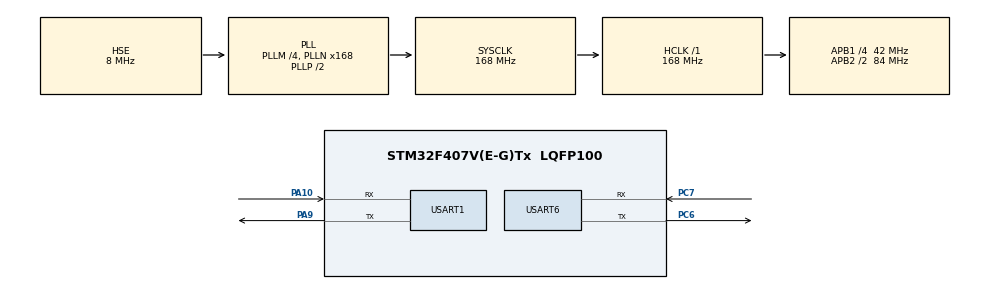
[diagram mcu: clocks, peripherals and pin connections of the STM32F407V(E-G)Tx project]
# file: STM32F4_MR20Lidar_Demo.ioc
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Dma.Request0=USART6_RX
Dma.USART6_RX.0.Direction=DMA_PERIPH_TO_MEMORY
Dma.USART6_RX.0.FIFOMode=DMA_FIFOMODE_DISABLE
Dma.USART6_RX.0.Instance=DMA2_Stream1
Dma.USART6_RX.0.MemDataAlignment=DMA_MDATAALIGN_BYTE
Dma.USART6_RX.0.MemInc=DMA_MINC_ENABLE
Dma.USART6_RX.0.Mode=DMA_NORMAL
Dma.USART6_RX.0.PeriphDataAlignment=DMA_PDATAALIGN_BYTE
Dma.USART6_RX.0.PeriphInc=DMA_PINC_DISABLE
Dma.USART6_RX.0.Priority=DMA_PRIORITY_LOW
Mcu.Family=STM32F4
Mcu.Name=STM32F407V(E-G)Tx
Mcu.Package=LQFP100
NVIC.DMA2_Stream1_IRQn=true\:0\:0\:false\:false\:true\:false\:true\:true
NVIC.PriorityGroup=NVIC_PRIORITYGROUP_4
NVIC.USART6_IRQn=true\:0\:0\:false\:false\:true\:true\:true\:true
PA10.Mode=Asynchronous
PA10.Signal=USART1_RX
PA13.Mode=Serial_Wire
PA13.Signal=SYS_JTMS-SWDIO
PA14.Mode=Serial_Wire
PA14.Signal=SYS_JTCK-SWCLK
PA9.Mode=Asynchronous
PA9.Signal=USART1_TX
PC6.Mode=Asynchronous
PC6.Signal=USART6_TX
PC7.Mode=Asynchronous
PC7.Signal=USART6_RX
PH0-OSC_IN.Mode=HSE-External-Oscillator
PH0-OSC_IN.Signal=RCC_OSC_IN
PH1-OSC_OUT.Mode=HSE-External-Oscillator
PH1-OSC_OUT.Signal=RCC_OSC_OUT
ProjectManager.HeapSize=0x200
ProjectManager.StackSize=0x400
ProjectManager.TargetToolchain=MDK-ARM V5.32
RCC.48MHZClocksFreq_Value=84000000
RCC.AHBFreq_Value=168000000
RCC.APB1CLKDivider=RCC_HCLK_DIV4
RCC.APB1Freq_Value=42000000
RCC.APB1TimFreq_Value=84000000
RCC.APB2CLKDivider=RCC_HCLK_DIV2
RCC.APB2Freq_Value=84000000
RCC.APB2TimFreq_Value=168000000
RCC.CortexFreq_Value=168000000
RCC.HCLKFreq_Value=168000000
RCC.HSE_VALUE=8000000
RCC.HSI_VALUE=16000000
RCC.LSE_VALUE=32768
RCC.PLLM=4
RCC.PLLN=168
RCC.PLLSourceVirtual=RCC_PLLSOURCE_HSE
RCC.SYSCLKFreq_VALUE=168000000
RCC.SYSCLKSource=RCC_SYSCLKSOURCE_PLLCLK
RCC.VCOOutputFreq_Value=336000000
USART1.VirtualMode=VM_ASYNC
USART6.VirtualMode=VM_ASYNC
board=custom

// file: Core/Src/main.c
/* USER CODE BEGIN Header */
/**
  ******************************************************************************
  * @file           : main.c
  * @brief          : Main program body
  ******************************************************************************
  * @attention
  *
  * Copyright (c) 2026 STMicroelectronics.
  * All rights reserved.
  *
  * This software is licensed under terms that can be found in the LICENSE file
  * in the root directory of this software component.
  * If no LICENSE file comes with this software, it is provided AS-IS.
  *
  ******************************************************************************
  */
/* USER CODE END Header */
#include "main.h"
#include "dma.h"
#include "usart.h"
#include "gpio.h"

/* USER CODE BEGIN Includes */
#include <stdio.h>
#include <string.h>

#include "bsp_MR20Lidar.h"
/* USER CODE END Includes */

/* USER CODE BEGIN PV */

//MR20处理任务
uint8_t MR20Lidar_task(void);

//定义毫米波雷达目标对象
MR20Object_t mr20_Obj;

/* USER CODE END PV */

void SystemClock_Config(void);

int main(void)
{

  /* MCU Configuration--------------------------------------------------------*/

  /* Reset of all peripherals, Initializes the Flash interface and the Systick. */
  HAL_Init();

  /* Configure the system clock */
  SystemClock_Config();

  /* Initialize all configured peripherals */
  MX_GPIO_Init();
  MX_DMA_Init();
  MX_USART1_UART_Init();
  MX_USART6_UART_Init();
  /* USER CODE BEGIN 2 */

	//启动串口6,接收毫米波雷达数据
	//接线: PC6 --- 毫米波雷达RX引脚
	//      PC7 --- 毫米波雷达TX引脚
	//      GND --- GND
	HAL_UARTEx_ReceiveToIdle_DMA(&huart6,mr20lidar_buffer,userconfig_MR20LidarDMA_LEN);

  /* USER CODE END 2 */

  /* Infinite loop */
  /* USER CODE BEGIN WHILE */
  while (1)
  {
	  if( mr20_data_ready ) //1帧数据解析完成时,mr20_data_ready会置1
	  {
		  mr20_data_ready=0;//等待下一帧数据处理

		  //处理1帧数据,完成一次数据处理时, MR20Lidar_task 返回 1
		  uint8_t ready = MR20Lidar_task();

		  //数据处理完毕,打印距离
		  if( ready )
		  {
			  #if 1 //数据打印模式  设置0切换波形模式
			  printf("id:%d\r\n",mr20_Obj.id);
			  printf("x_distance:%.2f\r\n",mr20_Obj.X_Dis);
			  printf("y_distance:%.2f\r\n",mr20_Obj.Y_Dis);
			  printf("x_speed:   %.2f\r\n",mr20_Obj.X_Vel);
			  printf("y_speed:   %.2f\r\n",mr20_Obj.Y_Vel);
			  printf("obj state:");
			  if( mr20_Obj.DynProp==0 )
				  printf(" stop\r\n");
			  else if( mr20_Obj.DynProp==1 )
				  printf(" coming\r\n");
			  else if( mr20_Obj.DynProp==2 )
				  printf(" going\r\n");
			  else if( mr20_Obj.DynProp==3 )
				  printf(" crossing\r\n");
			  printf("\r\n");

			  #else //波形模式,显示X和Y的距离

			  printf("{B%.2f:%.2f:%.2f:%.2f}$",mr20_Obj.X_Dis,mr20_Obj.Y_Dis,mr20_Obj.X_Vel,mr20_Obj.Y_Vel);

			  #endif
		  }
	  }
	  else
	  {
		  if( MR20_Lidar_OnlineFlag==0 )
		  {
			  printf("未检测到雷达\r\n");
			  HAL_Delay(500);
		  }
	  }

    /* USER CODE END WHILE */

  }
}

//筛选MR20最近的测量距离
uint8_t MR20Lidar_task(void)
{
	uint8_t ready = 0;
	static uint8_t MR20HandleSm = 0;
	static uint8_t PointNum = 0; //需要处理的点云数
	static uint8_t HandleNum = 0;//已处理的点云数量
	static float MinDistance = 1000;
	static uint8_t MinBuffer[8];

	//接收CAN数据变量
	CANmsgType_t msg;

	//读取数据
	memcpy(&msg,&mr20_can_msg,sizeof(CANmsgType_t));

	switch( MR20HandleSm )
	{
		case 0:
			if( msg.id == 0x60A )
			{
				PointNum = msg.buffer[0];         //本次需要处理的点云数据量
				MinDistance = 1000;
				if( PointNum!=0 ) MR20HandleSm=1,HandleNum=0; //仅有数据需要处理时切换状态
			}
			break;
		case 1:
			if( msg.id == 0x60B )
			{
				HandleNum++;

				//找出本次最小距离的点云
				float DistLong = (msg.buffer[1]*32 + (msg.buffer[2]>>3))*0.1f - 500;
				if( MinDistance > DistLong )
				{
					MinDistance = DistLong;
					memcpy(MinBuffer,msg.buffer,8);
				}

				//数据处理完毕
				if( HandleNum==PointNum )
				{
					//使用最小距离赋值
					MR20_ObjAnalysis(&mr20_Obj,MinBuffer);

					//数据处理完成,恢复所有状态
					HandleNum=0;
					PointNum=0;
					MinDistance = 1000;
					MR20HandleSm=0;
					memset(MinBuffer,0,8);

					//处理完毕,返回1
					ready=1;
				}
			}

			break;
		default:
			break;
	}

	return ready;
}

void SystemClock_Config(void)
{
  RCC_OscInitTypeDef RCC_OscInitStruct = {0};
  RCC_ClkInitTypeDef RCC_ClkInitStruct = {0};

  /** Configure the main internal regulator output voltage
  */
  __HAL_RCC_PWR_CLK_ENABLE();
  __HAL_PWR_VOLTAGESCALING_CONFIG(PWR_REGULATOR_VOLTAGE_SCALE1);

  /** Initializes the RCC Oscillators according to the specified parameters
  * in the RCC_OscInitTypeDef structure.
  */
  RCC_OscInitStruct.OscillatorType = RCC_OSCILLATORTYPE_HSE;
  RCC_OscInitStruct.HSEState = RCC_HSE_ON;
  RCC_OscInitStruct.PLL.PLLState = RCC_PLL_ON;
  RCC_OscInitStruct.PLL.PLLSource = RCC_PLLSOURCE_HSE;
  RCC_OscInitStruct.PLL.PLLM = 4;
  RCC_OscInitStruct.PLL.PLLN = 168;
  RCC_OscInitStruct.PLL.PLLP = RCC_PLLP_DIV2;
  RCC_OscInitStruct.PLL.PLLQ = 4;
  if (HAL_RCC_OscConfig(&RCC_OscInitStruct) != HAL_OK)
  {
    Error_Handler();
  }

  /** Initializes the CPU, AHB and APB buses clocks
  */
  RCC_ClkInitStruct.ClockType = RCC_CLOCKTYPE_HCLK|RCC_CLOCKTYPE_SYSCLK
                              |RCC_CLOCKTYPE_PCLK1|RCC_CLOCKTYPE_PCLK2;
  RCC_ClkInitStruct.SYSCLKSource = RCC_SYSCLKSOURCE_PLLCLK;
  RCC_ClkInitStruct.AHBCLKDivider = RCC_SYSCLK_DIV1;
  RCC_ClkInitStruct.APB1CLKDivider = RCC_HCLK_DIV4;
  RCC_ClkInitStruct.APB2CLKDivider = RCC_HCLK_DIV2;

  if (HAL_RCC_ClockConfig(&RCC_ClkInitStruct, FLASH_LATENCY_5) != HAL_OK)
  {
    Error_Handler();
  }
}

/* USER CODE BEGIN 4 */

UART_HandleTypeDef *DebugSerial = &huart1;

//printf函数实现
int fputc(int ch,FILE* stream)
{
	while( HAL_OK != HAL_UART_Transmit(DebugSerial,(const uint8_t *)&ch,1,100));
	return ch;
}

//DMA传输完成与半完成中断入口函数
void HAL_UARTEx_RxEventCallback(UART_HandleTypeDef *huart, uint16_t Size)
{
	if( huart == &huart6 && HAL_UART_STATE_READY == huart->RxState )
	{
		//处理串口原始数据
		mr20lidar_RawDataHandle(Size);

		//重新启动DMA搬运
		HAL_UARTEx_ReceiveToIdle_DMA(&huart6,mr20lidar_buffer,200);
	}
}

/* USER CODE END 4 */

void Error_Handler(void)
{
  __disable_irq();
  while (1)
  {
  }
}
